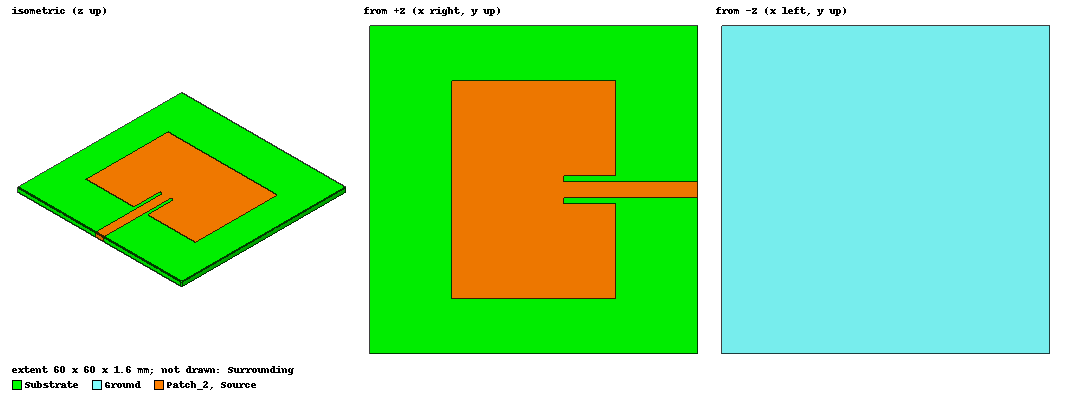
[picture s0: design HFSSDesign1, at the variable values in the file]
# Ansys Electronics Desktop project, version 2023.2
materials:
  vacuum: permittivity=1
  FR4_epoxy: permittivity=4.4 dielectric_loss_tangent=0.02

design HFSSDesign1 (HFSS, HFSS Terminal Network, model units mm)
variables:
  w = 30
  h = 40
  l = 30mm
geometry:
  Ground = rectangle(corner=(-30mm, -30mm, 0mm), x_size=60mm, y_size=60mm)
  Substrate [FR4_epoxy] = box(corner=(-30mm, -30mm, 0mm), size=(60mm, 60mm, 1.6mm))
  Patch = rectangle(corner=(-15mm, -20mm, 1.6mm), x_size=30mm, y_size=40mm)
  Patch_2 = rectangle(corner=(0mm, -1.5mm, 1.6mm), x_size=30mm, y_size=3mm)
  Gap = rectangle(corner=(15mm, -2.5mm, 1.6mm), x_size=-9.5mm, y_size=5mm)
  Patch.subtract(Gap)
  Patch_2.unite(Patch)
  Source = rectangle(corner=(30mm, -1.5mm, 1.6mm), y_size=3mm, z_size=-1.6mm)
  Surrounding [vacuum] = box(corner=(-50mm, -50mm, -50mm), size=(100mm, 100mm, 100mm))
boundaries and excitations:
  PerfE1: Perfect E Objects=Ground
  PerfE2: Perfect E Objects=Patch_2
  Rad1: Radiation Objects=Surrounding
  Patch_2_T1: Terminal port=1 Edges=Patch_2.edge(at (30, 0, 1.6)) TerminalResistance=50ohm
  1: Lumped Port Faces=Source.face LumpedPortType=Terminal Impedance=50ohm
  reference conductors: Ground
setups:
  Setup1: HfssDriven Frequency=2.4GHz MaxDeltaS=0.02 MaximumPasses=20 MinimumPasses=1 MinimumConvergedPasses=1 PercentRefinement=30 BasisOrder=1 PortAccuracy=2 DrivenSolverType="Direct Solver"
    sweep Sweep: 1GHz to 3GHz, 401 points; Type=Interpolating InterpTolerance=0.5 InterpMaxSolns=250 PassivityErrorTolerance=0.0001
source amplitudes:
  1:1: 1V 0deg
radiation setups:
  Infinite Sphere1: Infinite Sphere Theta=0deg..180deg step 2deg Phi=0deg..360deg step 2deg
  Infinite Sphere2: Infinite Sphere Theta=-180deg..180deg step 2deg Phi=0deg..90deg step 90deg
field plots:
  Mag_E1: E Field over Substrate.face(+z) on Setup1 : LastAdaptive at Freq=2.4GHz Phase=0deg
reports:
  Terminal S Parameter Plot 1: dB(St(Patch_2_T1,Patch_2_T1)) vs Freq on Setup1 : Sweep; markers MX1 at x=2.3291405e+09
  Gain Plot 1: dB(GainTotal) vs Phi, Theta on Setup1 : LastAdaptive, Infinite Sphere1 [Freq=2.4GHz]
  Gain Plot 2: dB(GainTotal) vs Theta on Setup1 : LastAdaptive, Infinite Sphere2 [Phi=all Freq=2.4GHz]
